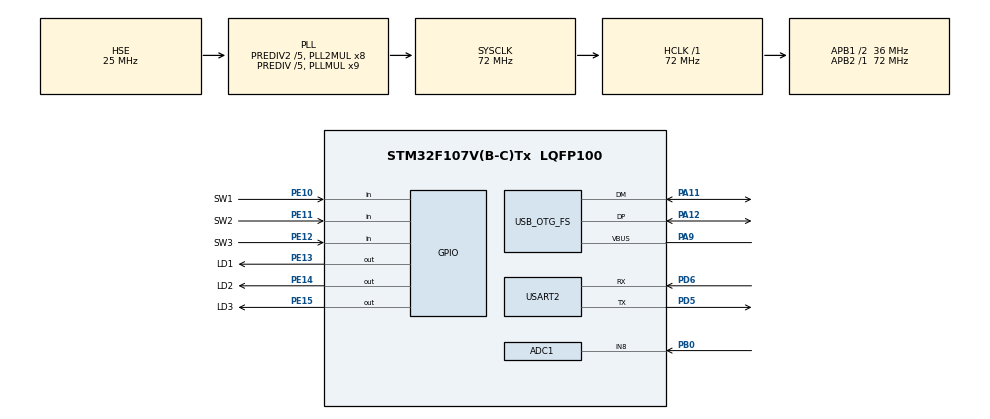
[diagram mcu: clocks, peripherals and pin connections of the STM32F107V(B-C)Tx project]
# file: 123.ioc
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ADC1.Channel-0\#ChannelRegularConversion=ADC_CHANNEL_8
ADC1.NbrOfConversionFlag=1
ADC1.Rank-0\#ChannelRegularConversion=1
ADC1.SamplingTime-0\#ChannelRegularConversion=ADC_SAMPLETIME_1CYCLE_5
ADC1.master=1
Mcu.Family=STM32F1
Mcu.Name=STM32F107V(B-C)Tx
Mcu.Package=LQFP100
NVIC.OTG_FS_IRQn=true\:0\:0\:false\:false\:true\:false\:true
NVIC.PriorityGroup=NVIC_PRIORITYGROUP_4
NVIC.TIM6_IRQn=true\:0\:0\:false\:false\:true\:true\:true
NVIC.TIM7_IRQn=true\:0\:0\:false\:false\:true\:true\:true
OSC_IN.Mode=HSE-External-Oscillator
OSC_IN.Signal=RCC_OSC_IN
OSC_OUT.Mode=HSE-External-Oscillator
OSC_OUT.Signal=RCC_OSC_OUT
PA11.Mode=Device_Only
PA11.Signal=USB_OTG_FS_DM
PA12.Mode=Device_Only
PA12.Signal=USB_OTG_FS_DP
PA13.Mode=Serial_Wire
PA13.Signal=SYS_JTMS-SWDIO
PA14.Mode=Serial_Wire
PA14.Signal=SYS_JTCK-SWCLK
PA9.Mode=Activate_VBUS
PA9.Signal=USB_OTG_FS_VBUS
PB0.Signal=ADCx_IN8
PC14-OSC32_IN.Mode=LSE-External-Clock-Source
PC14-OSC32_IN.Signal=RCC_OSC32_IN
PC15-OSC32_OUT.Mode=LSE-External-Clock-Source
PC15-OSC32_OUT.Signal=RCC_OSC32_OUT
PD5.Mode=Asynchronous
PD5.Signal=USART2_TX
PD6.Mode=Asynchronous
PD6.Signal=USART2_RX
PE10.GPIO_Label=SW1
PE10.GPIO_PuPd=GPIO_NOPULL
PE10.Signal=GPIO_Input
PE11.GPIO_Label=SW2
PE11.GPIO_PuPd=GPIO_NOPULL
PE11.Signal=GPIO_Input
PE12.GPIO_Label=SW3
PE12.GPIO_PuPd=GPIO_NOPULL
PE12.Signal=GPIO_Input
PE13.GPIO_Label=LD1
PE13.GPIO_PuPd=GPIO_PULLUP
PE13.GPIO_Speed=GPIO_SPEED_FREQ_HIGH
PE13.PinState=GPIO_PIN_SET
PE13.Signal=GPIO_Output
PE14.GPIO_Label=LD2
PE14.GPIO_PuPd=GPIO_PULLUP
PE14.GPIO_Speed=GPIO_SPEED_FREQ_HIGH
PE14.PinState=GPIO_PIN_SET
PE14.Signal=GPIO_Output
PE15.GPIO_Label=LD3
PE15.GPIO_PuPd=GPIO_PULLUP
PE15.PinState=GPIO_PIN_SET
PE15.Signal=GPIO_Output
ProjectManager.HeapSize=0x600
ProjectManager.StackSize=0x400
ProjectManager.TargetToolchain=MDK-ARM V5
RCC.ADCPresc=RCC_ADCPCLK2_DIV6
RCC.AHBFreq_Value=72000000
RCC.APB1CLKDivider=RCC_HCLK_DIV2
RCC.APB1Freq_Value=36000000
RCC.APB1TimFreq_Value=72000000
RCC.APB2Freq_Value=72000000
RCC.APB2TimFreq_Value=72000000
RCC.HCLKFreq_Value=72000000
RCC.HSEDivPLL=RCC_HSE_PREDIV_DIV5
RCC.HSE_VALUE=25000000
RCC.PLLMUL=RCC_PLL_MUL9
RCC.PLLSourceVirtual=RCC_PLLSOURCE_HSE
RCC.Prediv1Source=RCC_PREDIV1_SOURCE_PLL2
RCC.Prediv2=RCC_HSE_PREDIV2_DIV5
RCC.SYSCLKFreq_VALUE=72000000
RCC.SYSCLKSource=RCC_SYSCLKSOURCE_PLLCLK
RCC.USBFreq_Value=48000000
SH.ADCx_IN8.0=ADC1_IN8,IN8
TIM6.AutoReloadPreload=TIM_AUTORELOAD_PRELOAD_ENABLE
TIM6.Period=100
TIM6.Prescaler=72
TIM7.AutoReloadPreload=TIM_AUTORELOAD_PRELOAD_ENABLE
TIM7.Period=1000
TIM7.Prescaler=72
USART2.VirtualMode=VM_ASYNC
USB_DEVICE.CLASS_NAME_FS=CDC
USB_DEVICE.VirtualMode=Cdc
USB_DEVICE.VirtualModeFS=Cdc_FS
USB_OTG_FS.VirtualMode=Device_Only
VP_TIM6_VS_ClockSourceINT.Mode=Enable_Timer
VP_TIM7_VS_ClockSourceINT.Mode=Enable_Timer
VP_USB_DEVICE_VS_USB_DEVICE_CDC_FS.Mode=CDC_FS
board=custom

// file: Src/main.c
/* USER CODE BEGIN Header */
/**
  ******************************************************************************
  * @file           : main.c
  * @brief          : Main program body
  ******************************************************************************
  * @attention
  *
  * <h2><center>&copy; Copyright (c) 2019 STMicroelectronics.
  * All rights reserved.</center></h2>
  *
  * This software component is licensed by ST under BSD 3-Clause license,
  * the "License"; You may not use this file except in compliance with the
  * License. You may obtain a copy of the License at:
  *                        opensource.org/licenses/BSD-3-Clause
  *
  ******************************************************************************
  */
/* USER CODE END Header */

#include "main.h"
#include "adc.h"
#include "tim.h"
#include "usart.h"
#include "usb_device.h"
#include "gpio.h"

/* USER CODE BEGIN Includes */

#include "flexible_button.h"

#include "EventRecorder.h"
 #include "stdio.h"
/* USER CODE END Includes */

void SystemClock_Config(void);

/* USER CODE BEGIN 0 */

uint32_t u_main=0;

typedef enum
{
    USER_BUTTON_1,     // 对应 IoT Board 开发板的 PIN_KEY1
    USER_BUTTON_2,     // 对应 IoT Board 开发板的 PIN_KEY2
    USER_BUTTON_3,     // 对应 IoT Board 开发板的 PIN_KEY3
    USER_BUTTON_MAX
} user_button_t;

static flex_button_t user_button[USER_BUTTON_MAX];

void HAL_TIM_PeriodElapsedCallback(TIM_HandleTypeDef*htim)
{
	static uint8_t timer=0;
	if(htim->Instance == TIM7)
	{
		timer++;

		if(timer >= 20)
		{
			u_main++;
			timer=0;
		}

	}
		if(htim->Instance == TIM6)
	{

	}
}

static uint8_t common_btn_read(void *arg)
{
    uint8_t value = 0;

    flex_button_t *btn = (flex_button_t *)arg;

    switch (btn->id)
    {

    case USER_BUTTON_1:
        value = HAL_GPIO_ReadPin(SW1_GPIO_Port,SW1_Pin);
        break;
    case USER_BUTTON_2:
        value = HAL_GPIO_ReadPin(SW2_GPIO_Port,SW2_Pin);
        break;
    case USER_BUTTON_3:
        value = HAL_GPIO_ReadPin(SW3_GPIO_Port,SW3_Pin);
        break;
    default:
        break;
    }

    return value;
}

static void common_btn_evt_cb(void *arg)
{
    flex_button_t *btn = (flex_button_t *)arg;

	if ((flex_button_event_read(&user_button[USER_BUTTON_2])  == FLEX_BTN_PRESS_CLICK)  && (flex_button_event_read(&user_button[USER_BUTTON_3]) == FLEX_BTN_PRESS_CLICK))
    {
        printf("[combination]: button 0 and button 1\n");
    }
	else
	{
		if(btn ->id == USER_BUTTON_1)
		{
			if(btn ->event == FLEX_BTN_PRESS_CLICK)
			{
				 printf("SW1 FLEX_BTN_PRESS_CLICK \n");
			}
			else if(btn ->event == FLEX_BTN_PRESS_DOUBLE_CLICK)
			{
				 printf("SW1 FLEX_BTN_PRESS_DOUBLE_CLICK \n");
			}
			else if(btn ->event == FLEX_BTN_PRESS_LONG_START)
			{
				printf("SW1 FLEX_BTN_PRESS_LONG_START \n");
			}
			else
			{

			}
		}
		else if(btn ->id == USER_BUTTON_2)
		{
			if(btn ->event == FLEX_BTN_PRESS_CLICK)
			{
				 printf("SW2 FLEX_BTN_PRESS_CLICK \n");
			}
			else if(btn ->event == FLEX_BTN_PRESS_DOUBLE_CLICK)
			{
				 printf("SW2 FLEX_BTN_PRESS_DOUBLE_CLICK \n");
			}
			else if(btn ->event == FLEX_BTN_PRESS_LONG_START)
			{
				printf("SW2 FLEX_BTN_PRESS_LONG_START \n");
			}
			else
			{

			}

		}
		else if(btn ->id == USER_BUTTON_3)
		{
			if(btn ->event == FLEX_BTN_PRESS_CLICK)
			{
				 printf("SW3 FLEX_BTN_PRESS_CLICK \n");
			}
			else if(btn ->event == FLEX_BTN_PRESS_DOUBLE_CLICK)
			{
				 printf("SW3 FLEX_BTN_PRESS_DOUBLE_CLICK \n");
			}
			else if(btn ->event == FLEX_BTN_PRESS_LONG_START)
			{
				printf("SW3 FLEX_BTN_PRESS_LONG_START \n");
			}
			else
			{

			}

		}

	}

}

static void user_button_init(void)
{
    uint8_t i;

    for (i = 0; i < USER_BUTTON_MAX; i ++)
    {
        user_button[i].id = i;
        user_button[i].usr_button_read = common_btn_read;
        user_button[i].cb = common_btn_evt_cb;
		user_button[i].scan_cnt =0;
        user_button[i].pressed_logic_level = 0;
        user_button[i].short_press_start_tick = FLEX_MS_TO_SCAN_CNT(1500);
        user_button[i].long_press_start_tick = FLEX_MS_TO_SCAN_CNT(3000);
        user_button[i].long_hold_start_tick = FLEX_MS_TO_SCAN_CNT(4500);

        flex_button_register(&user_button[i]);
    }
}

/* USER CODE END 0 */

int main(void)
{

  /* MCU Configuration--------------------------------------------------------*/

  /* Reset of all peripherals, Initializes the Flash interface and the Systick. */
  HAL_Init();

  /* Configure the system clock */
  SystemClock_Config();

  /* Initialize all configured peripherals */
  MX_GPIO_Init();
  MX_ADC1_Init();
  MX_USART2_UART_Init();
  MX_TIM7_Init();
  MX_USB_DEVICE_Init();
  MX_TIM6_Init();
  /* USER CODE BEGIN 2 */

	EventRecorderInitialize(EventRecordAll, 1U);
	EventRecorderStart();

	user_button_init();

	HAL_TIM_Base_Start_IT(&htim7);
	HAL_TIM_Base_Start_IT(&htim6);

	printf("kaishi le \r\n");
  /* USER CODE END 2 */

  /* Infinite loop */
  while (1)
  {

    /* USER CODE BEGIN 3 */

	  if(u_main != 0)
	  {
		u_main =0;
		flex_button_scan();

	  }

  }
  /* USER CODE END 3 */
}

void SystemClock_Config(void)
{
  RCC_OscInitTypeDef RCC_OscInitStruct = {0};
  RCC_ClkInitTypeDef RCC_ClkInitStruct = {0};
  RCC_PeriphCLKInitTypeDef PeriphClkInit = {0};

  /** Initializes the CPU, AHB and APB busses clocks
  */
  RCC_OscInitStruct.OscillatorType = RCC_OSCILLATORTYPE_HSE;
  RCC_OscInitStruct.HSEState = RCC_HSE_ON;
  RCC_OscInitStruct.HSEPredivValue = RCC_HSE_PREDIV_DIV5;
  RCC_OscInitStruct.HSIState = RCC_HSI_ON;
  RCC_OscInitStruct.Prediv1Source = RCC_PREDIV1_SOURCE_PLL2;
  RCC_OscInitStruct.PLL.PLLState = RCC_PLL_ON;
  RCC_OscInitStruct.PLL.PLLSource = RCC_PLLSOURCE_HSE;
  RCC_OscInitStruct.PLL.PLLMUL = RCC_PLL_MUL9;
  RCC_OscInitStruct.PLL2.PLL2State = RCC_PLL2_ON;
  RCC_OscInitStruct.PLL2.PLL2MUL = RCC_PLL2_MUL8;
  RCC_OscInitStruct.PLL2.HSEPrediv2Value = RCC_HSE_PREDIV2_DIV5;
  if (HAL_RCC_OscConfig(&RCC_OscInitStruct) != HAL_OK)
  {
    Error_Handler();
  }
  /** Initializes the CPU, AHB and APB busses clocks
  */
  RCC_ClkInitStruct.ClockType = RCC_CLOCKTYPE_HCLK|RCC_CLOCKTYPE_SYSCLK
                              |RCC_CLOCKTYPE_PCLK1|RCC_CLOCKTYPE_PCLK2;
  RCC_ClkInitStruct.SYSCLKSource = RCC_SYSCLKSOURCE_PLLCLK;
  RCC_ClkInitStruct.AHBCLKDivider = RCC_SYSCLK_DIV1;
  RCC_ClkInitStruct.APB1CLKDivider = RCC_HCLK_DIV2;
  RCC_ClkInitStruct.APB2CLKDivider = RCC_HCLK_DIV1;

  if (HAL_RCC_ClockConfig(&RCC_ClkInitStruct, FLASH_LATENCY_2) != HAL_OK)
  {
    Error_Handler();
  }
  PeriphClkInit.PeriphClockSelection = RCC_PERIPHCLK_ADC|RCC_PERIPHCLK_USB;
  PeriphClkInit.AdcClockSelection = RCC_ADCPCLK2_DIV6;
  PeriphClkInit.UsbClockSelection = RCC_USBCLKSOURCE_PLL_DIV3;
  if (HAL_RCCEx_PeriphCLKConfig(&PeriphClkInit) != HAL_OK)
  {
    Error_Handler();
  }
  /** Configure the Systick interrupt time
  */
  __HAL_RCC_PLLI2S_ENABLE();
}

void Error_Handler(void)
{
}

/************************ (C) COPYRIGHT STMicroelectronics *****END OF FILE****/
